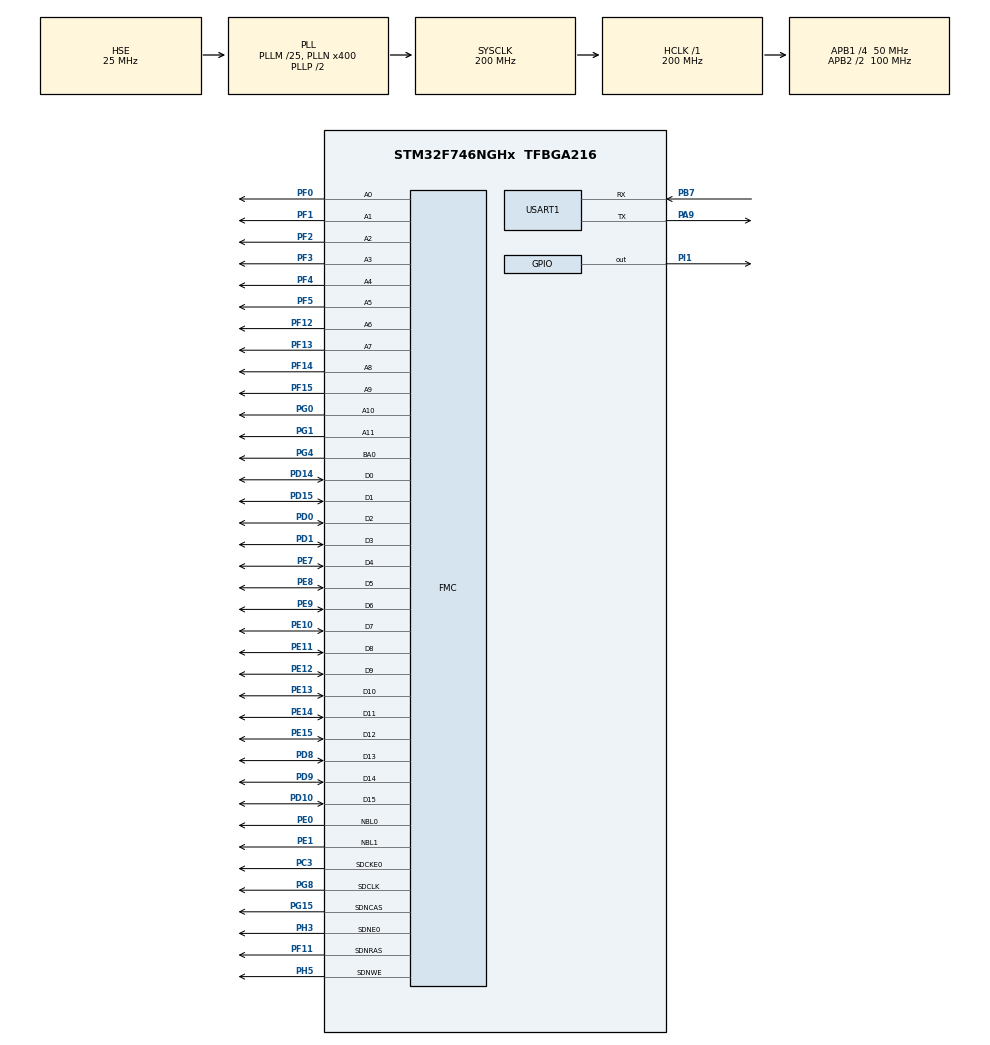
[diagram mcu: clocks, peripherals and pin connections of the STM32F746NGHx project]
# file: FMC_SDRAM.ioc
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CORTEX_M7.AccessPermission-Cortex_Memory_Protection_Unit_Region0_Settings=MPU_REGION_FULL_ACCESS
CORTEX_M7.BaseAddress-Cortex_Memory_Protection_Unit_Region0_Settings=0x20010000
CORTEX_M7.CPU_DCache=Enabled
CORTEX_M7.CPU_ICache=Enabled
CORTEX_M7.Enable-Cortex_Memory_Protection_Unit_Region0_Settings=MPU_REGION_ENABLE
CORTEX_M7.IsCacheable-Cortex_Memory_Protection_Unit_Region0_Settings=MPU_ACCESS_CACHEABLE
CORTEX_M7.MPU_Control=MPU_PRIVILEGED_DEFAULT
CORTEX_M7.Size-Cortex_Memory_Protection_Unit_Region0_Settings=MPU_REGION_SIZE_256KB
FMC.CASLatency1=FMC_SDRAM_CAS_LATENCY_2
FMC.ExitSelfRefreshDelay1=6
FMC.LoadToActiveDelay1=2
FMC.RCDDelay1=2
FMC.RPDelay1=2
FMC.RPDelay2=2
FMC.ReadBurst1=FMC_SDRAM_RBURST_ENABLE
FMC.ReadBurst2=FMC_SDRAM_RBURST_ENABLE
FMC.RowCycleDelay1=6
FMC.RowCycleDelay2=6
FMC.SDClockPeriod1=FMC_SDRAM_CLOCK_PERIOD_2
FMC.SDClockPeriod2=FMC_SDRAM_CLOCK_PERIOD_2
FMC.SelfRefreshTime1=4
FMC.WriteRecoveryTime1=2
Mcu.Family=STM32F7
Mcu.Name=STM32F746NGHx
Mcu.Package=TFBGA216
NVIC.PriorityGroup=NVIC_PRIORITYGROUP_4
PA13.Mode=Serial_Wire
PA13.Signal=SYS_JTMS-SWDIO
PA14.Mode=Serial_Wire
PA14.Signal=SYS_JTCK-SWCLK
PA9.Mode=Asynchronous
PA9.Signal=USART1_TX
PB7.Mode=Asynchronous
PB7.Signal=USART1_RX
PC3.Mode=SdramChipSelect1_1
PC3.Signal=FMC_SDCKE0
PD0.Signal=FMC_D2_DA2
PD1.Signal=FMC_D3_DA3
PD10.Signal=FMC_D15_DA15
PD14.Signal=FMC_D0_DA0
PD15.Signal=FMC_D1_DA1
PD8.Signal=FMC_D13_DA13
PD9.Signal=FMC_D14_DA14
PE0.Signal=FMC_NBL0
PE1.Signal=FMC_NBL1
PE10.Signal=FMC_D7_DA7
PE11.Signal=FMC_D8_DA8
PE12.Signal=FMC_D9_DA9
PE13.Signal=FMC_D10_DA10
PE14.Signal=FMC_D11_DA11
PE15.Signal=FMC_D12_DA12
PE7.Signal=FMC_D4_DA4
PE8.Signal=FMC_D5_DA5
PE9.Signal=FMC_D6_DA6
PF0.Signal=FMC_A0
PF1.Signal=FMC_A1
PF11.Signal=FMC_SDNRAS
PF12.Signal=FMC_A6
PF13.Signal=FMC_A7
PF14.Signal=FMC_A8
PF15.Signal=FMC_A9
PF2.Signal=FMC_A2
PF3.Signal=FMC_A3
PF4.Signal=FMC_A4
PF5.Signal=FMC_A5
PG0.Signal=FMC_A10
PG1.Signal=FMC_A11
PG15.Signal=FMC_SDNCAS
PG4.Signal=FMC_A14_BA0
PG8.Signal=FMC_SDCLK
PH0/OSC_IN.Mode=HSE-External-Oscillator
PH0/OSC_IN.Signal=RCC_OSC_IN
PH1/OSC_OUT.Mode=HSE-External-Oscillator
PH1/OSC_OUT.Signal=RCC_OSC_OUT
PH3.Mode=SdramChipSelect1_1
PH3.Signal=FMC_SDNE0
PH5.Signal=FMC_SDNWE
PI1.Signal=GPIO_Output
ProjectManager.HeapSize=0x2000
ProjectManager.StackSize=0x4000
ProjectManager.TargetToolchain=SW4STM32
RCC.AHBFreq_Value=200000000
RCC.APB1CLKDivider=RCC_HCLK_DIV4
RCC.APB1Freq_Value=50000000
RCC.APB1TimFreq_Value=100000000
RCC.APB2CLKDivider=RCC_HCLK_DIV2
RCC.APB2Freq_Value=100000000
RCC.APB2TimFreq_Value=200000000
RCC.CortexFreq_Value=200000000
RCC.HCLKFreq_Value=200000000
RCC.HSE_VALUE=25000000
RCC.HSI_VALUE=16000000
RCC.LSE_VALUE=32768
RCC.PLLM=25
RCC.PLLN=400
RCC.PLLSourceVirtual=RCC_PLLSOURCE_HSE
RCC.SYSCLKFreq_VALUE=200000000
RCC.SYSCLKSource=RCC_SYSCLKSOURCE_PLLCLK
RCC.USBFreq_Value=200000000
RCC.VCOOutputFreq_Value=400000000
SH.FMC_A0.0=FMC_A0,12b-sda1
SH.FMC_A1.0=FMC_A1,12b-sda1
SH.FMC_A10.0=FMC_A10,12b-sda1
SH.FMC_A11.0=FMC_A11,12b-sda1
SH.FMC_A14_BA0.0=FMC_BA0,TwoSdramBanks1
SH.FMC_A2.0=FMC_A2,12b-sda1
SH.FMC_A3.0=FMC_A3,12b-sda1
SH.FMC_A4.0=FMC_A4,12b-sda1
SH.FMC_A5.0=FMC_A5,12b-sda1
SH.FMC_A6.0=FMC_A6,12b-sda1
SH.FMC_A7.0=FMC_A7,12b-sda1
SH.FMC_A8.0=FMC_A8,12b-sda1
SH.FMC_A9.0=FMC_A9,12b-sda1
SH.FMC_D0_DA0.0=FMC_D0,sd-16b-d1
SH.FMC_D10_DA10.0=FMC_D10,sd-16b-d1
SH.FMC_D11_DA11.0=FMC_D11,sd-16b-d1
SH.FMC_D12_DA12.0=FMC_D12,sd-16b-d1
SH.FMC_D13_DA13.0=FMC_D13,sd-16b-d1
SH.FMC_D14_DA14.0=FMC_D14,sd-16b-d1
SH.FMC_D15_DA15.0=FMC_D15,sd-16b-d1
SH.FMC_D1_DA1.0=FMC_D1,sd-16b-d1
SH.FMC_D2_DA2.0=FMC_D2,sd-16b-d1
SH.FMC_D3_DA3.0=FMC_D3,sd-16b-d1
SH.FMC_D4_DA4.0=FMC_D4,sd-16b-d1
SH.FMC_D5_DA5.0=FMC_D5,sd-16b-d1
SH.FMC_D6_DA6.0=FMC_D6,sd-16b-d1
SH.FMC_D7_DA7.0=FMC_D7,sd-16b-d1
SH.FMC_D8_DA8.0=FMC_D8,sd-16b-d1
SH.FMC_D9_DA9.0=FMC_D9,sd-16b-d1
SH.FMC_NBL0.0=FMC_NBL0,Sd2ByteEnable1
SH.FMC_NBL1.0=FMC_NBL1,Sd2ByteEnable1
SH.FMC_SDCLK.0=FMC_SDCLK,12b-sda1
SH.FMC_SDNCAS.0=FMC_SDNCAS,12b-sda1
SH.FMC_SDNRAS.0=FMC_SDNRAS,12b-sda1
SH.FMC_SDNWE.0=FMC_SDNWE,12b-sda1
USART1.VirtualMode-Asynchronous=VM_ASYNC
USART1.WordLength=WORDLENGTH_8B
board=32F746GDISCOVERY

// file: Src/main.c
/**
  ******************************************************************************
  * @file           : main.c
  * @brief          : Main program body
  ******************************************************************************
  ** This notice applies to any and all portions of this file
  * that are not between comment pairs USER CODE BEGIN and
  * USER CODE END. Other portions of this file, whether
  * inserted by the user or by software development tools
  * are owned by their respective copyright owners.
  *
  * COPYRIGHT(c) 2018 STMicroelectronics
  *
  * Redistribution and use in source and binary forms, with or without modification,
  * are permitted provided that the following conditions are met:
  *   1. Redistributions of source code must retain the above copyright notice,
  *      this list of conditions and the following disclaimer.
  *   2. Redistributions in binary form must reproduce the above copyright notice,
  *      this list of conditions and the following disclaimer in the documentation
  *      and/or other materials provided with the distribution.
  *   3. Neither the name of STMicroelectronics nor the names of its contributors
  *      may be used to endorse or promote products derived from this software
  *      without specific prior written permission.
  *
  * THIS SOFTWARE IS PROVIDED BY THE COPYRIGHT HOLDERS AND CONTRIBUTORS "AS IS"
  * AND ANY EXPRESS OR IMPLIED WARRANTIES, INCLUDING, BUT NOT LIMITED TO, THE
  * IMPLIED WARRANTIES OF MERCHANTABILITY AND FITNESS FOR A PARTICULAR PURPOSE ARE
  * DISCLAIMED. IN NO EVENT SHALL THE COPYRIGHT HOLDER OR CONTRIBUTORS BE LIABLE
  * FOR ANY DIRECT, INDIRECT, INCIDENTAL, SPECIAL, EXEMPLARY, OR CONSEQUENTIAL
  * DAMAGES (INCLUDING, BUT NOT LIMITED TO, PROCUREMENT OF SUBSTITUTE GOODS OR
  * SERVICES; LOSS OF USE, DATA, OR PROFITS; OR BUSINESS INTERRUPTION) HOWEVER
  * CAUSED AND ON ANY THEORY OF LIABILITY, WHETHER IN CONTRACT, STRICT LIABILITY,
  * OR TORT (INCLUDING NEGLIGENCE OR OTHERWISE) ARISING IN ANY WAY OUT OF THE USE
  * OF THIS SOFTWARE, EVEN IF ADVISED OF THE POSSIBILITY OF SUCH DAMAGE.
  *
  ******************************************************************************
  */
#include "main.h"
#include "stm32f7xx_hal.h"

/* USER CODE BEGIN Includes */
#include "MT48LC4M32B2.h"
#include "string.h"
/* USER CODE END Includes */

UART_HandleTypeDef huart1;

SDRAM_HandleTypeDef hsdram1;

/* USER CODE BEGIN PV */
/* Private variables ---------------------------------------------------------*/
#define BUFFER_SIZE ((uint32_t)0x0100)
#define WRITE_READ_ADDR ((uint32_t)0x0800)
uint32_t aTxBuffer[BUFFER_SIZE];
uint32_t aRxBuffer[BUFFER_SIZE];
uint32_t uwIndex = 0;
/* USER CODE END PV */

void SystemClock_Config(void);
static void MPU_Config(void);
static void MX_GPIO_Init(void);
static void MX_USART1_UART_Init(void);
static void MX_FMC_Init(void);

/* USER CODE BEGIN PFP */
/* Private function prototypes -----------------------------------------------*/

/* USER CODE END PFP */

/* USER CODE BEGIN 0 */
static void Fill_Buffer(uint32_t *pBuffer, uint32_t uwBufferLenght, uint32_t uwOffset)
{
 uint32_t tmpIndex = 0;
 /* Put in global buffer different values */
 for (tmpIndex = 0; tmpIndex < uwBufferLenght; tmpIndex++ )
 {
   pBuffer[tmpIndex] = tmpIndex + uwOffset;
 }
}
/* USER CODE END 0 */

int main(void)
{
  /* USER CODE BEGIN 1 */
char str1[20] = {0};
  /* USER CODE END 1 */

  /* MPU Configuration----------------------------------------------------------*/
  MPU_Config();

  /* Enable I-Cache-------------------------------------------------------------*/
  SCB_EnableICache();

  /* Enable D-Cache-------------------------------------------------------------*/
  SCB_EnableDCache();

  /* MCU Configuration----------------------------------------------------------*/

  /* Reset of all peripherals, Initializes the Flash interface and the Systick. */
  HAL_Init();

  /* Configure the system clock */
  SystemClock_Config();

  /* Initialize all configured peripherals */
  MX_GPIO_Init();
  MX_USART1_UART_Init();
  MX_FMC_Init();
  /* USER CODE BEGIN 2 */
  MT48LC4M32B2_init(&hsdram1);
  Fill_Buffer(aTxBuffer,BUFFER_SIZE, 0x37BA0f68);
  //запишем данные из буфера в память SDRAM с адреса 0xC0000800
  for (uwIndex = 0; uwIndex < BUFFER_SIZE; uwIndex++)
   {
     *(__IO uint32_t*) (SDRAM_BANK_ADDR + WRITE_READ_ADDR + 4*uwIndex) = aTxBuffer[uwIndex];
   }
  //прочитаем в другой буфер данные из памяти SDRAM с адреса 0xC0000800
  for (uwIndex = 0; uwIndex < BUFFER_SIZE; uwIndex++)
    {
      aRxBuffer[uwIndex] = *(__IO uint32_t*) (SDRAM_BANK_ADDR + WRITE_READ_ADDR + 4*uwIndex);
    }
  //отправим байты в USART
    for (uwIndex = 0; uwIndex < BUFFER_SIZE; uwIndex++) {
    	sprintf(str1, "%03ld: 0x%08lX\r\n", (unsigned long) uwIndex, (unsigned long) aRxBuffer[uwIndex]);
    	HAL_UART_Transmit(&huart1,(uint8_t *) str1, strlen(str1), 0x1000);
    	HAL_Delay(100);
    	HAL_GPIO_WritePin(GPIOI,GPIO_PIN_1,GPIO_PIN_SET);
    }
  /* USER CODE END 2 */

  /* Infinite loop */
  while (1)
  {

  }

}

void SystemClock_Config(void)
{

  RCC_OscInitTypeDef RCC_OscInitStruct;
  RCC_ClkInitTypeDef RCC_ClkInitStruct;
  RCC_PeriphCLKInitTypeDef PeriphClkInitStruct;

    /**Configure the main internal regulator output voltage
    */
  __HAL_RCC_PWR_CLK_ENABLE();

  __HAL_PWR_VOLTAGESCALING_CONFIG(PWR_REGULATOR_VOLTAGE_SCALE1);

    /**Initializes the CPU, AHB and APB busses clocks
    */
  RCC_OscInitStruct.OscillatorType = RCC_OSCILLATORTYPE_HSE;
  RCC_OscInitStruct.HSEState = RCC_HSE_ON;
  RCC_OscInitStruct.PLL.PLLState = RCC_PLL_ON;
  RCC_OscInitStruct.PLL.PLLSource = RCC_PLLSOURCE_HSE;
  RCC_OscInitStruct.PLL.PLLM = 25;
  RCC_OscInitStruct.PLL.PLLN = 400;
  RCC_OscInitStruct.PLL.PLLP = RCC_PLLP_DIV2;
  RCC_OscInitStruct.PLL.PLLQ = 2;
  if (HAL_RCC_OscConfig(&RCC_OscInitStruct) != HAL_OK)
  {
    _Error_Handler(__FILE__, __LINE__);
  }

    /**Activate the Over-Drive mode
    */
  if (HAL_PWREx_EnableOverDrive() != HAL_OK)
  {
    _Error_Handler(__FILE__, __LINE__);
  }

    /**Initializes the CPU, AHB and APB busses clocks
    */
  RCC_ClkInitStruct.ClockType = RCC_CLOCKTYPE_HCLK|RCC_CLOCKTYPE_SYSCLK
                              |RCC_CLOCKTYPE_PCLK1|RCC_CLOCKTYPE_PCLK2;
  RCC_ClkInitStruct.SYSCLKSource = RCC_SYSCLKSOURCE_PLLCLK;
  RCC_ClkInitStruct.AHBCLKDivider = RCC_SYSCLK_DIV1;
  RCC_ClkInitStruct.APB1CLKDivider = RCC_HCLK_DIV4;
  RCC_ClkInitStruct.APB2CLKDivider = RCC_HCLK_DIV2;

  if (HAL_RCC_ClockConfig(&RCC_ClkInitStruct, FLASH_LATENCY_6) != HAL_OK)
  {
    _Error_Handler(__FILE__, __LINE__);
  }

  PeriphClkInitStruct.PeriphClockSelection = RCC_PERIPHCLK_USART1;
  PeriphClkInitStruct.Usart1ClockSelection = RCC_USART1CLKSOURCE_PCLK2;
  if (HAL_RCCEx_PeriphCLKConfig(&PeriphClkInitStruct) != HAL_OK)
  {
    _Error_Handler(__FILE__, __LINE__);
  }

    /**Configure the Systick interrupt time
    */
  HAL_SYSTICK_Config(HAL_RCC_GetHCLKFreq()/1000);

    /**Configure the Systick
    */
  HAL_SYSTICK_CLKSourceConfig(SYSTICK_CLKSOURCE_HCLK);

  /* SysTick_IRQn interrupt configuration */
  HAL_NVIC_SetPriority(SysTick_IRQn, 0, 0);
}

/* USART1 init function */
static void MX_USART1_UART_Init(void)
{

  huart1.Instance = USART1;
  huart1.Init.BaudRate = 115200;
  huart1.Init.WordLength = UART_WORDLENGTH_8B;
  huart1.Init.StopBits = UART_STOPBITS_1;
  huart1.Init.Parity = UART_PARITY_NONE;
  huart1.Init.Mode = UART_MODE_TX_RX;
  huart1.Init.HwFlowCtl = UART_HWCONTROL_NONE;
  huart1.Init.OverSampling = UART_OVERSAMPLING_16;
  huart1.Init.OneBitSampling = UART_ONE_BIT_SAMPLE_DISABLE;
  huart1.AdvancedInit.AdvFeatureInit = UART_ADVFEATURE_NO_INIT;
  if (HAL_UART_Init(&huart1) != HAL_OK)
  {
    _Error_Handler(__FILE__, __LINE__);
  }

}

/* FMC initialization function */
static void MX_FMC_Init(void)
{
  FMC_SDRAM_TimingTypeDef SdramTiming;

  /** Perform the SDRAM1 memory initialization sequence
  */
  hsdram1.Instance = FMC_SDRAM_DEVICE;
  /* hsdram1.Init */
  hsdram1.Init.SDBank = FMC_SDRAM_BANK1;
  hsdram1.Init.ColumnBitsNumber = FMC_SDRAM_COLUMN_BITS_NUM_8;
  hsdram1.Init.RowBitsNumber = FMC_SDRAM_ROW_BITS_NUM_12;
  hsdram1.Init.MemoryDataWidth = FMC_SDRAM_MEM_BUS_WIDTH_16;
  hsdram1.Init.InternalBankNumber = FMC_SDRAM_INTERN_BANKS_NUM_2;
  hsdram1.Init.CASLatency = FMC_SDRAM_CAS_LATENCY_2;
  hsdram1.Init.WriteProtection = FMC_SDRAM_WRITE_PROTECTION_DISABLE;
  hsdram1.Init.SDClockPeriod = FMC_SDRAM_CLOCK_PERIOD_2;
  hsdram1.Init.ReadBurst = FMC_SDRAM_RBURST_ENABLE;
  hsdram1.Init.ReadPipeDelay = FMC_SDRAM_RPIPE_DELAY_0;
  /* SdramTiming */
  SdramTiming.LoadToActiveDelay = 2;
  SdramTiming.ExitSelfRefreshDelay = 6;
  SdramTiming.SelfRefreshTime = 4;
  SdramTiming.RowCycleDelay = 6;
  SdramTiming.WriteRecoveryTime = 2;
  SdramTiming.RPDelay = 2;
  SdramTiming.RCDDelay = 2;

  if (HAL_SDRAM_Init(&hsdram1, &SdramTiming) != HAL_OK)
  {
    _Error_Handler(__FILE__, __LINE__);
  }

}

/** Configure pins as
        * Analog
        * Input
        * Output
        * EVENT_OUT
        * EXTI
*/
static void MX_GPIO_Init(void)
{

  GPIO_InitTypeDef GPIO_InitStruct;

  /* GPIO Ports Clock Enable */
  __HAL_RCC_GPIOE_CLK_ENABLE();
  __HAL_RCC_GPIOA_CLK_ENABLE();
  __HAL_RCC_GPIOB_CLK_ENABLE();
  __HAL_RCC_GPIOG_CLK_ENABLE();
  __HAL_RCC_GPIOD_CLK_ENABLE();
  __HAL_RCC_GPIOF_CLK_ENABLE();
  __HAL_RCC_GPIOI_CLK_ENABLE();
  __HAL_RCC_GPIOH_CLK_ENABLE();
  __HAL_RCC_GPIOC_CLK_ENABLE();

  /*Configure GPIO pin Output Level */
  HAL_GPIO_WritePin(GPIOI, GPIO_PIN_1, GPIO_PIN_RESET);

  /*Configure GPIO pin : PI1 */
  GPIO_InitStruct.Pin = GPIO_PIN_1;
  GPIO_InitStruct.Mode = GPIO_MODE_OUTPUT_PP;
  GPIO_InitStruct.Pull = GPIO_NOPULL;
  GPIO_InitStruct.Speed = GPIO_SPEED_FREQ_LOW;
  HAL_GPIO_Init(GPIOI, &GPIO_InitStruct);

}

/* MPU Configuration */

void MPU_Config(void)
{
  MPU_Region_InitTypeDef MPU_InitStruct;

  /* Disables the MPU */
  HAL_MPU_Disable();
    /**Initializes and configures the Region and the memory to be protected
    */
  MPU_InitStruct.Enable = MPU_REGION_ENABLE;
  MPU_InitStruct.Number = MPU_REGION_NUMBER0;
  MPU_InitStruct.BaseAddress = 0x20010000;
  MPU_InitStruct.Size = MPU_REGION_SIZE_256KB;
  MPU_InitStruct.SubRegionDisable = 0x0;
  MPU_InitStruct.TypeExtField = MPU_TEX_LEVEL0;
  MPU_InitStruct.AccessPermission = MPU_REGION_FULL_ACCESS;
  MPU_InitStruct.DisableExec = MPU_INSTRUCTION_ACCESS_ENABLE;
  MPU_InitStruct.IsShareable = MPU_ACCESS_NOT_SHAREABLE;
  MPU_InitStruct.IsCacheable = MPU_ACCESS_CACHEABLE;
  MPU_InitStruct.IsBufferable = MPU_ACCESS_NOT_BUFFERABLE;

  HAL_MPU_ConfigRegion(&MPU_InitStruct);

  /* Enables the MPU */
  HAL_MPU_Enable(MPU_PRIVILEGED_DEFAULT);

}

void _Error_Handler(char *file, int line)
{
  while(1)
  {
  }
}

/************************ (C) COPYRIGHT STMicroelectronics *****END OF FILE****/
